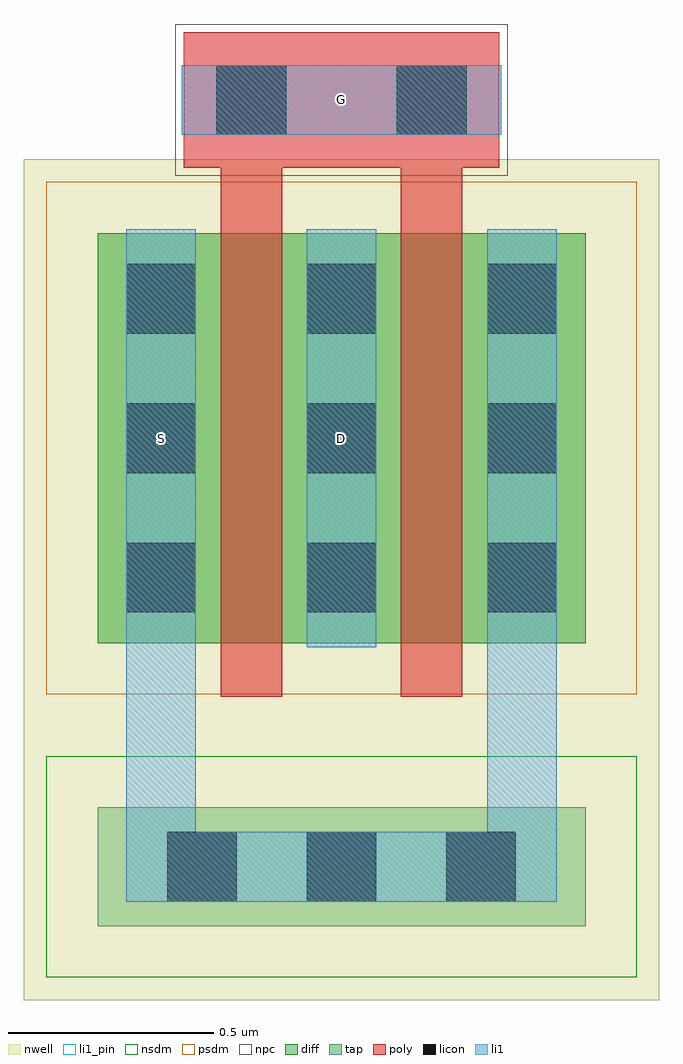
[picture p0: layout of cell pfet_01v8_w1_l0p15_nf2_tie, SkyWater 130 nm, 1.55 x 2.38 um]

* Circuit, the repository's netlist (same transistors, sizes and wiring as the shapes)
.SUBCKT pfet_01v8_w1_l0p15_nf2_tie D G S
M0 D G S S pfet_01v8 w=1 l=0.15
M1 D G S S pfet_01v8 w=1 l=0.15
.ENDS

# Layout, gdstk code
import gdstk
lib = gdstk.Library(unit=1e-6, precision=1e-09)
def R(c, l, rs):  # rectangles x0, y0, x1, y1
    for r in rs: c.add(gdstk.rectangle(r[:2], r[2:], *l))
def A(c, l, x, y, w, h, nx, ny, dx, dy):  # array of equal rectangles
    R(c, l, [(x+i*dx, y+j*dy, x+i*dx+w, y+j*dy+h) for i in range(nx) for j in range(ny)])
nwell = (64, 20)
diff = (65, 20)
tap = (65, 44)
poly = (66, 20)
licon = (66, 44)
li1_pin = (67, 16)
li1 = (67, 20)
nsdm = (93, 44)
psdm = (94, 20)
npc = (95, 20)

pfet_01v8_w1_l0p15_nf2_t = lib.new_cell('pfet_01v8_w1_l0p15_nf2_tie')
R(pfet_01v8_w1_l0p15_nf2_t, nwell, [(-0.18,-0.87,1.37,1.18)])
R(pfet_01v8_w1_l0p15_nf2_t, diff, [(0,0,1.19,1)])
R(pfet_01v8_w1_l0p15_nf2_t, tap, [(0,-0.69,1.19,-0.4)])
R(pfet_01v8_w1_l0p15_nf2_t, poly, [(0.3,-0.13,0.45,1.16), (0.74,-0.13,0.89,1.16), (0.21,1.16,0.98,1.49)])
A(pfet_01v8_w1_l0p15_nf2_t, licon, 0.17, -0.63, 0.17, 0.17, 3, 1, 0.34, 0)
A(pfet_01v8_w1_l0p15_nf2_t, licon, 0.07, 0.075, 0.17, 0.17, 3, 3, 0.44, 0.34)
R(pfet_01v8_w1_l0p15_nf2_t, licon, [(0.29,1.24,0.46,1.41), (0.73,1.24,0.9,1.41)])
R(pfet_01v8_w1_l0p15_nf2_t, li1_pin, [(0.15,0.495,0.16,0.505), (0.59,0.495,0.6,0.505), (0.59,1.32,0.6,1.33)])
R(pfet_01v8_w1_l0p15_nf2_t, li1, [(0.07,-0.63,1.12,-0.46), (0.07,-0.63,0.24,1.01), (0.95,-0.63,1.12,1.01), (0.51,-0.01,0.68,1.01), (0.205,1.24,0.985,1.41)])
R(pfet_01v8_w1_l0p15_nf2_t, nsdm, [(-0.125,-0.815,1.315,-0.275)])
R(pfet_01v8_w1_l0p15_nf2_t, psdm, [(-0.125,-0.125,1.315,1.125)])
R(pfet_01v8_w1_l0p15_nf2_t, npc, [(0.19,1.14,1,1.51)])
pfet_01v8_w1_l0p15_nf2_t.add(gdstk.Label('G', (0.595,1.325), layer=67, texttype=5))
pfet_01v8_w1_l0p15_nf2_t.add(gdstk.Label('S', (0.155,0.5), layer=67, texttype=5))
pfet_01v8_w1_l0p15_nf2_t.add(gdstk.Label('D', (0.595,0.5), layer=67, texttype=5))

lib.write_gds('pfet_01v8_w1_l0p15_nf2_tie.gds')
